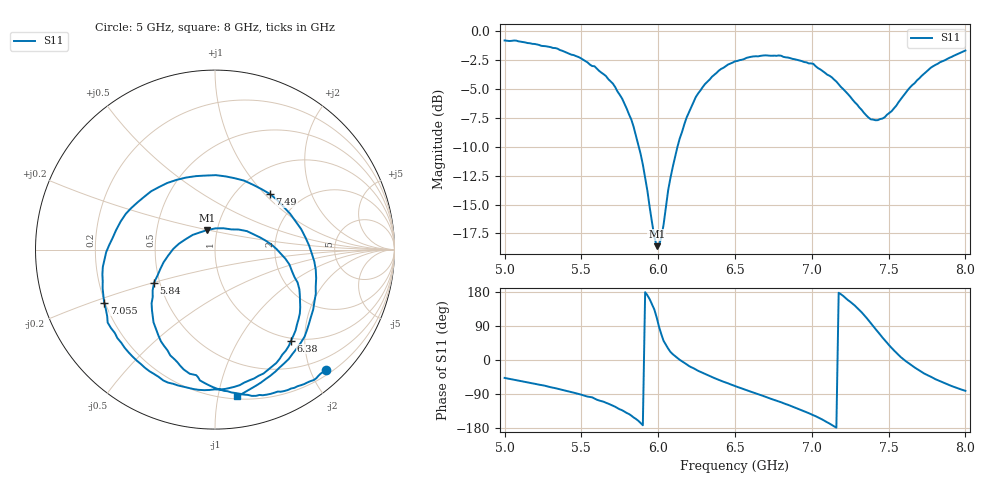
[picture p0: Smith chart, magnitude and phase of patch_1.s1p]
#  HZ  S  RI  R  50.00
! Rohde & Schwarz Vector Network Analyzer
! Rohde-Schwarz,ZNA43-4Port,1332450044101989,3.01
! Created: UTC 3/19/2025, 2:44:09 PM
! freq[Hz]  re:S11  im:S11
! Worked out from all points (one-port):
!   201 points, 5 GHz to 8 GHz, reference 50 ohm
!   lowest |S11| = -18.6 dB at 5.99 GHz (marker M1), VSWR 1.27, Z = 44.7 + j9.85 ohm
!   |S11| at or under -10 dB: 5.874 GHz to 6.125 GHz (251.2 MHz wide, 4.19 % of centre)
!   S11 on the Smith chart (normalised r, x): 5 GHz: 0.28, -2.26; 5.84 GHz: 0.47, -0.20; 6.38 GHz: 0.96, -1.72; 7.055 GHz: 0.20, -0.22; 7.49 GHz: 1.40, +1.07; 8 GHz: 0.22, -1.14
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5e9  0.6193 -0.6706
5.21e9  0.3863 -0.7879
5.375e9  0.1616 -0.8079
5.585e9  -0.1411 -0.6916
5.75e9  -0.3425 -0.4051
5.84e9  -0.3394 -0.1836
5.9e9  -0.2627 -0.0358
5.99e9  -0.0447 0.1086
6.02e9  0.0473 0.1188
6.065e9  0.1779 0.1029
6.125e9  0.3143 0.0284
6.245e9  0.4703 -0.2215
6.38e9  0.4236 -0.5073
6.5e9  0.2702 -0.6904
6.605e9  0.0783 -0.7718
6.695e9  -0.0904 -0.7815
6.875e9  -0.4133 -0.6373
7.055e9  -0.6173 -0.2954
7.16e9  -0.6061 -0.0136
7.25e9  -0.4677 0.2303
7.37e9  -0.1052 0.4095
7.43e9  0.1102 0.3975
7.49e9  0.306 0.31
7.565e9  0.4803 0.1137
7.625e9  0.5532 -0.0657
7.715e9  0.5471 -0.3342
7.805e9  0.4535 -0.5534
8e9  0.1246 -0.8161
